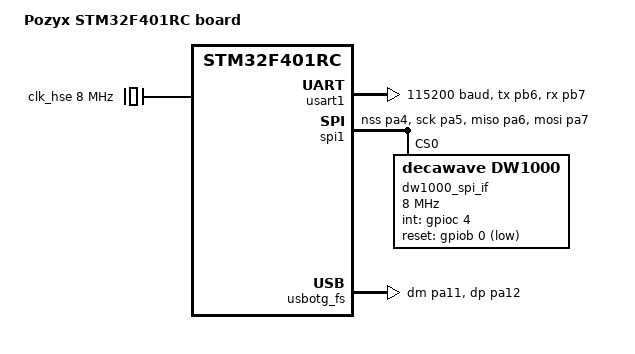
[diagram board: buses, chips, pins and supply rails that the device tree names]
/*
 * Copyright (c) 2017 Linaro Limited
 * Copyright (c) 2019 Centaur Analytics, Inc
 *
 * SPDX-License-Identifier: Apache-2.0
 */

/dts-v1/;
#include <st/f4/stm32f401Xc.dtsi>
#include <st/f4/stm32f401r(b-c)tx-pinctrl.dtsi>

/ {
	model = "Pozyx STM32F401RC board";
	compatible = "st,stm32f401rc-pozyx";

	chosen {
		zephyr,console = &usart2;
		zephyr,shell-uart = &usart2;
		zephyr,sram = &sram0;
		zephyr,flash = &flash0;
		// zephyr,code-partition = &slot0_partition;
	};

	/* leds {
		compatible = "gpio-leds";
		green_led_2: led_2 {
			gpios = <&gpioa 5 GPIO_ACTIVE_HIGH>;
			label = "User LD2";
		};
	};

	aliases {
		led0 = &green_led_2;
	}; */
};

&clk_hse {
	hse-bypass;
	clock-frequency = <DT_FREQ_M(8)>; /* STLink 8MHz clock */
	status = "okay";
};

&pll {
	div-m = <8>;
	mul-n = <336>;
	div-p = <4>;
	div-q = <7>;
	clocks = <&clk_hse>;
	status = "okay";
};

&rcc {
	clocks = <&pll>;
	clock-frequency = <DT_FREQ_M(84)>;
	ahb-prescaler = <1>;
	apb1-prescaler = <2>;
	apb2-prescaler = <1>;
};

&usart1 {
	pinctrl-0 = <&usart1_tx_pb6 &usart1_rx_pb7>;
	current-speed = <115200>;
	status = "okay";
};

&spi1 {
	pinctrl-0 = <&spi1_nss_pa4 &spi1_sck_pa5
		     &spi1_miso_pa6 &spi1_mosi_pa7>;
	status = "okay";
};

&flash0 {

	partitions {
		compatible = "fixed-partitions";
		#address-cells = <1>;
		#size-cells = <1>;

		boot_partition: partition@0 {
			label = "mcuboot";
			reg = <0x00000000 0x00010000>;
			read-only;
		};

		/*
		 * The flash starting at offset 0x10000 and ending at
		 * offset 0x1ffff is reserved for use by the application.
		 */

		slot0_partition: partition@20000 {
			label = "image-0";
			reg = <0x00020000 0x00020000>;
		};
		slot1_partition: partition@40000 {
			label = "image-1";
			reg = <0x00040000 0x00020000>;
		};
		scratch_partition: partition@60000 {
			label = "image-scratch";
			reg = <0x00060000 0x00020000>;
		};
	};
};

&usbotg_fs {
        pinctrl-0 = <&usb_otg_fs_dm_pa11 &usb_otg_fs_dp_pa12>;
        status = "okay";
};

/*
&timers2 {
	status = "okay";

	pwm2: pwm {
		status = "okay";
		pinctrl-0 = <&tim2_ch1_pa5>;
	};
};

&rtc {
	status = "okay";
};

&wwdg {
	status = "okay";
};
*/

dw1000_spi: &spi1 {
        status = "okay";
        litex_dw_spi: stm_dw1000_spi@0 { 
                compatible = "decawave,dw1000";
                status = "okay";
                reg = <0>;
                label = "dw1000_spi_if";
                int-gpios = <&gpioc 4 GPIO_ACTIVE_HIGH>;
                reset-gpios = <&gpiob 0 GPIO_ACTIVE_LOW>;
                spi-max-frequency = <8000000>;
        };
};
